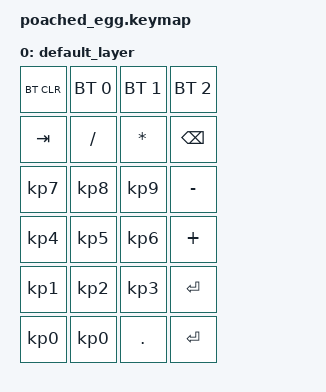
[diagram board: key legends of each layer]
#include <behaviors.dtsi>
#include <dt-bindings/zmk/keys.h>
#include <dt-bindings/zmk/bt.h>

/ {
    keymap {
        compatible = "zmk,keymap";

        default_layer {
            bindings = <
                &bt BT_CLR     &bt BT_SEL 0   &bt BT_SEL 1    &bt BT_SEL 2
                &kp TAB        &kp SLASH      &kp STAR        &kp BACKSPACE
                &kp KP_N7      &kp KP_N8      &kp KP_N9       &kp MINUS
                &kp KP_N4      &kp KP_N5      &kp KP_N6       &kp PLUS
                &kp KP_N1      &kp KP_N2      &kp KP_N3       &kp RETURN
                &kp KP_N0      &kp KP_N0      &kp DOT         &kp RETURN
            >;
        };
    };
};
